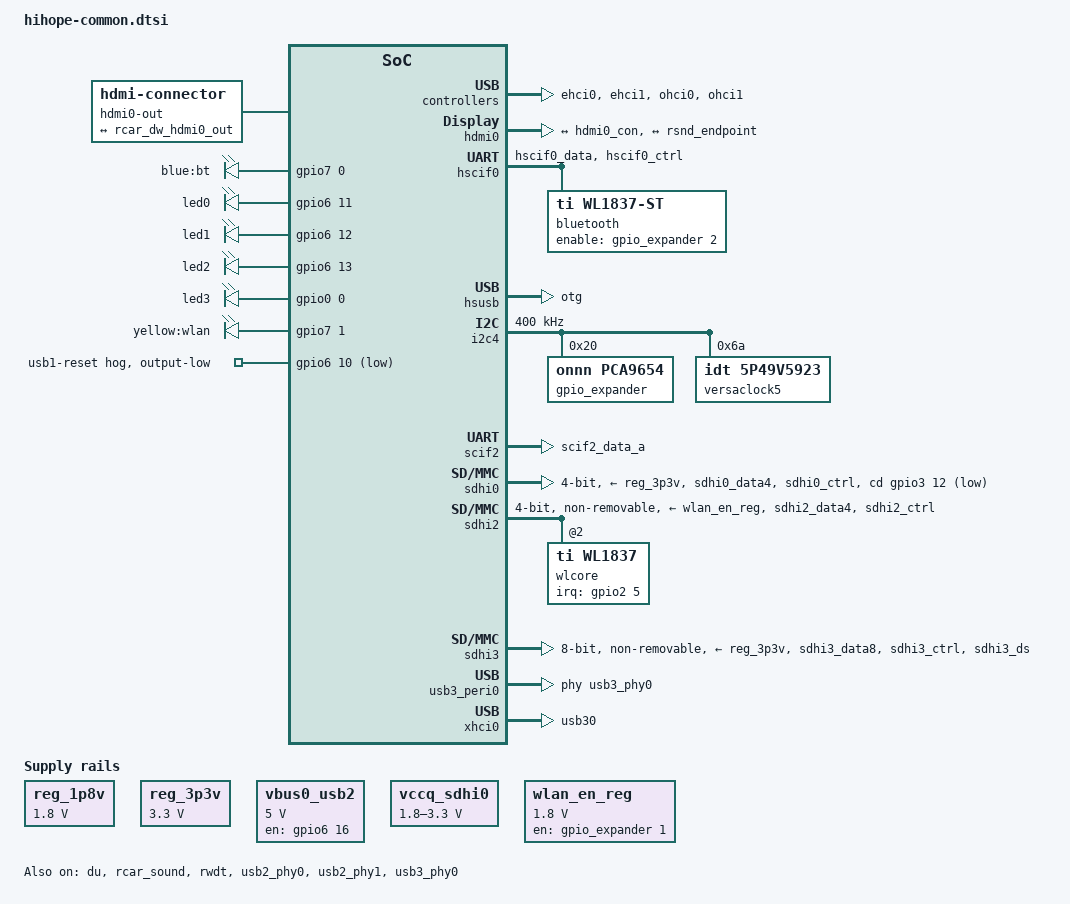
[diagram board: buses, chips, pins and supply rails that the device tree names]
// SPDX-License-Identifier: GPL-2.0
/*
 * Device Tree Source for the HiHope RZ/G2[MN] main board common parts
 *
 * Copyright (C) 2019 Renesas Electronics Corp.
 */

#include <dt-bindings/gpio/gpio.h>

/ {
	aliases {
		serial0 = &scif2;
		serial1 = &hscif0;
	};

	chosen {
		bootargs = "ignore_loglevel";
		stdout-path = "serial0:115200n8";
	};

	hdmi0-out {
		compatible = "hdmi-connector";
		type = "a";

		port {
			hdmi0_con: endpoint {
				remote-endpoint = <&rcar_dw_hdmi0_out>;
			};
		};
	};

	leds {
		compatible = "gpio-leds";

		bt_active_led {
			label = "blue:bt";
			gpios = <&gpio7  0 GPIO_ACTIVE_HIGH>;
			linux,default-trigger = "hci0-power";
			default-state = "off";
		};

		led0 {
			gpios = <&gpio6 11 GPIO_ACTIVE_HIGH>;
		};

		led1 {
			gpios = <&gpio6 12 GPIO_ACTIVE_HIGH>;
		};

		led2 {
			gpios = <&gpio6 13 GPIO_ACTIVE_HIGH>;
		};

		led3 {
			gpios = <&gpio0  0 GPIO_ACTIVE_HIGH>;
		};

		wlan_active_led {
			label = "yellow:wlan";
			gpios = <&gpio7  1 GPIO_ACTIVE_HIGH>;
			linux,default-trigger = "phy0tx";
			default-state = "off";
		};
	};

	reg_1p8v: regulator0 {
		compatible = "regulator-fixed";
		regulator-name = "fixed-1.8V";
		regulator-min-microvolt = <1800000>;
		regulator-max-microvolt = <1800000>;
		regulator-boot-on;
		regulator-always-on;
	};

	reg_3p3v: regulator1 {
		compatible = "regulator-fixed";
		regulator-name = "fixed-3.3V";
		regulator-min-microvolt = <3300000>;
		regulator-max-microvolt = <3300000>;
		regulator-boot-on;
		regulator-always-on;
	};

	sound_card: sound {
		compatible = "audio-graph-card";

		label = "rcar-sound";

		dais = <&rsnd_port>;
	};

	vbus0_usb2: regulator-vbus0-usb2 {
		compatible = "regulator-fixed";

		regulator-name = "USB20_VBUS0";
		regulator-min-microvolt = <5000000>;
		regulator-max-microvolt = <5000000>;

		gpio = <&gpio6 16 GPIO_ACTIVE_HIGH>;
		enable-active-high;
	};

	vccq_sdhi0: regulator-vccq-sdhi0 {
		compatible = "regulator-gpio";

		regulator-name = "SDHI0 VccQ";
		regulator-min-microvolt = <1800000>;
		regulator-max-microvolt = <3300000>;

		gpios = <&gpio6 30 GPIO_ACTIVE_HIGH>;
		gpios-states = <1>;
		states = <3300000 1>, <1800000 0>;
	};

	wlan_en_reg: regulator-wlan_en {
		compatible = "regulator-fixed";
		regulator-name = "wlan-en-regulator";
		regulator-min-microvolt = <1800000>;
		regulator-max-microvolt = <1800000>;
		startup-delay-us = <70000>;

		gpio = <&gpio_expander 1 GPIO_ACTIVE_HIGH>;
		enable-active-high;
	};

	x302_clk: x302-clock {
		compatible = "fixed-clock";
		#clock-cells = <0>;
		clock-frequency = <33000000>;
	};

	x304_clk: x304-clock {
		compatible = "fixed-clock";
		#clock-cells = <0>;
		clock-frequency = <25000000>;
	};
};

&audio_clk_a {
	clock-frequency = <22579200>;
};

&du {
	status = "okay";
};

&ehci0 {
	status = "okay";
};

&ehci1 {
	status = "okay";
};

&extal_clk {
	clock-frequency = <16666666>;
};

&extalr_clk {
	clock-frequency = <32768>;
};

&gpio6 {
	usb1-reset {
		gpio-hog;
		gpios = <10 GPIO_ACTIVE_LOW>;
		output-low;
		line-name = "usb1-reset";
	};
};

&hdmi0 {
	status = "okay";

	ports {
		port@1 {
			reg = <1>;
			rcar_dw_hdmi0_out: endpoint {
				remote-endpoint = <&hdmi0_con>;
			};
		};
		port@2 {
			reg = <2>;
			dw_hdmi0_snd_in: endpoint {
				remote-endpoint = <&rsnd_endpoint>;
			};
		};
	};
};

&hscif0 {
	pinctrl-0 = <&hscif0_pins>;
	pinctrl-names = "default";

	uart-has-rtscts;
	status = "okay";

	bluetooth {
		compatible = "ti,wl1837-st";
		enable-gpios = <&gpio_expander 2 GPIO_ACTIVE_HIGH>;
	};
};

&hsusb {
	dr_mode = "otg";
	status = "okay";
};

&i2c4 {
	clock-frequency = <400000>;
	status = "okay";

	gpio_expander: gpio@20 {
		compatible = "onnn,pca9654";
		reg = <0x20>;
		gpio-controller;
		#gpio-cells = <2>;
	};

	versaclock5: clock-generator@6a {
		compatible = "idt,5p49v5923";
		reg = <0x6a>;
		#clock-cells = <1>;
		clocks = <&x304_clk>;
		clock-names = "xin";
	};
};

&ohci0 {
	status = "okay";
};

&ohci1 {
	status = "okay";
};

&pcie_bus_clk {
	clock-frequency = <100000000>;
};

&pfc {
	pinctrl-0 = <&scif_clk_pins>;
	pinctrl-names = "default";

	hscif0_pins: hscif0 {
		groups = "hscif0_data", "hscif0_ctrl";
		function = "hscif0";
	};

	scif2_pins: scif2 {
		groups = "scif2_data_a";
		function = "scif2";
	};

	scif_clk_pins: scif_clk {
		groups = "scif_clk_a";
		function = "scif_clk";
	};

	sdhi0_pins: sd0 {
		groups = "sdhi0_data4", "sdhi0_ctrl";
		function = "sdhi0";
		power-source = <3300>;
	};

	sdhi0_pins_uhs: sd0_uhs {
		groups = "sdhi0_data4", "sdhi0_ctrl";
		function = "sdhi0";
		power-source = <1800>;
	};

	sdhi2_pins: sd2 {
		groups = "sdhi2_data4", "sdhi2_ctrl";
		function = "sdhi2";
		power-source = <1800>;
	};

	sdhi3_pins: sd3 {
		groups = "sdhi3_data8", "sdhi3_ctrl", "sdhi3_ds";
		function = "sdhi3";
		power-source = <1800>;
	};

	sound_clk_pins: sound_clk {
		groups = "audio_clk_a_a";
		function = "audio_clk";
	};

	usb0_pins: usb0 {
		groups = "usb0";
		function = "usb0";
	};

	usb1_pins: usb1 {
		mux {
			groups = "usb1";
			function = "usb1";
		};

		ovc {
			pins = "GP_6_27";
			bias-pull-up;
		};
	};

	usb30_pins: usb30 {
		groups = "usb30";
		function = "usb30";
	};
};

&rcar_sound {
	pinctrl-0 = <&sound_clk_pins>;
	pinctrl-names = "default";

	status = "okay";

	/* Single DAI */
	#sound-dai-cells = <0>;

	rsnd_port: port {
		rsnd_endpoint: endpoint {
			remote-endpoint = <&dw_hdmi0_snd_in>;

			dai-format = "i2s";
			bitclock-master = <&rsnd_endpoint>;
			frame-master = <&rsnd_endpoint>;

			playback = <&ssi2>;
		};
	};
};

&rwdt {
	timeout-sec = <60>;
	status = "okay";
};

&scif2 {
	pinctrl-0 = <&scif2_pins>;
	pinctrl-names = "default";

	status = "okay";
};

&scif_clk {
	clock-frequency = <14745600>;
};

&sdhi0 {
	pinctrl-0 = <&sdhi0_pins>;
	pinctrl-1 = <&sdhi0_pins_uhs>;
	pinctrl-names = "default", "state_uhs";

	vmmc-supply = <&reg_3p3v>;
	vqmmc-supply = <&vccq_sdhi0>;
	cd-gpios = <&gpio3 12 GPIO_ACTIVE_LOW>;
	bus-width = <4>;
	sd-uhs-sdr50;
	sd-uhs-sdr104;
	status = "okay";
};

&sdhi2 {
	status = "okay";
	pinctrl-0 = <&sdhi2_pins>;
	pinctrl-names = "default";

	vmmc-supply = <&wlan_en_reg>;
	bus-width = <4>;
	non-removable;
	cap-power-off-card;
	keep-power-in-suspend;

	#address-cells = <1>;
	#size-cells = <0>;
	wlcore: wlcore@2 {
		compatible = "ti,wl1837";
		reg = <2>;
		interrupt-parent = <&gpio2>;
		interrupts = <5 IRQ_TYPE_LEVEL_HIGH>;
	};
};

&sdhi3 {
	pinctrl-0 = <&sdhi3_pins>;
	pinctrl-1 = <&sdhi3_pins>;
	pinctrl-names = "default", "state_uhs";

	vmmc-supply = <&reg_3p3v>;
	vqmmc-supply = <&reg_1p8v>;
	bus-width = <8>;
	mmc-hs200-1_8v;
	non-removable;
	fixed-emmc-driver-type = <1>;
	status = "okay";
};

&usb_extal_clk {
	clock-frequency = <50000000>;
};

&usb2_phy0 {
	pinctrl-0 = <&usb0_pins>;
	pinctrl-names = "default";

	vbus-supply = <&vbus0_usb2>;
	status = "okay";
};

&usb2_phy1 {
	pinctrl-0 = <&usb1_pins>;
	pinctrl-names = "default";

	status = "okay";
};

&usb3_peri0 {
	phys = <&usb3_phy0>;
	phy-names = "usb";

	companion = <&xhci0>;

	status = "okay";
};

&usb3_phy0 {
	status = "okay";
};

&usb3s0_clk {
	clock-frequency = <100000000>;
};

&xhci0 {
	pinctrl-0 = <&usb30_pins>;
	pinctrl-names = "default";

	status = "okay";
};
